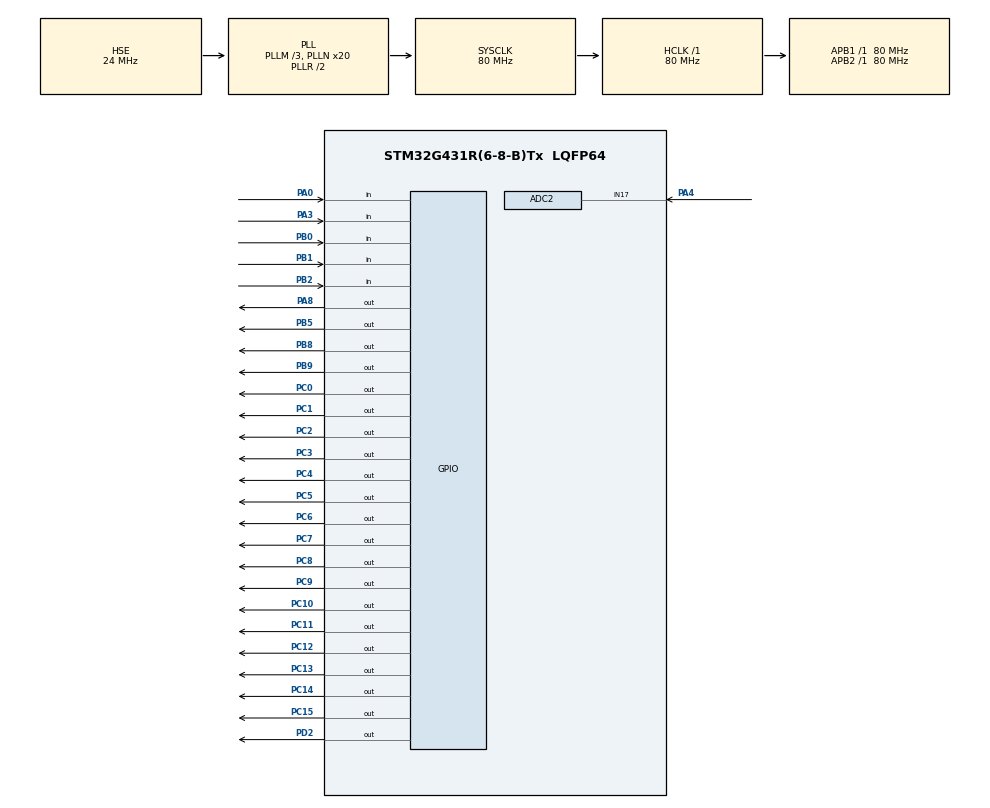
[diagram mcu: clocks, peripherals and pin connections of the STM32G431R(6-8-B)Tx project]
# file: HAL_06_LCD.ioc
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Mcu.Family=STM32G4
RCC.CortexFreq_Value=80000000
ADC2.Channel-0\#ChannelRegularConversion=ADC_CHANNEL_17
PC10.Signal=GPIO_Output
PC12.Signal=GPIO_Output
RCC.SYSCLKSource=RCC_SYSCLKSOURCE_PLLCLK
ProjectManager.StackSize=0x400
PA4.Mode=IN17-Single-Ended
PB1.GPIO_PuPd=GPIO_NOPULL
RCC.HCLKFreq_Value=80000000
RCC.APB2TimFreq_Value=80000000
PC7.Signal=GPIO_Output
PC3.Signal=GPIO_Output
RCC.AHBFreq_Value=80000000
RCC.HSE_VALUE=24000000
PB2.Signal=GPIO_Input
RCC.ADC12Freq_Value=80000000
PA14.Mode=Serial_Wire
VP_SYS_VS_DBSignals.Mode=DisableDeadBatterySignals
PA8.Signal=GPIO_Output
PB2.GPIO_PuPd=GPIO_NOPULL
PA0.Signal=GPIO_Input
Mcu.Package=LQFP64
PB9.Signal=GPIO_Output
PB1.Signal=GPIO_Input
PB0.GPIO_Mode=GPIO_MODE_INPUT
PA0.GPIO_PuPd=GPIO_NOPULL
ADC2.SamplingTime-0\#ChannelRegularConversion=ADC_SAMPLETIME_2CYCLES_5
RCC.APB1TimFreq_Value=80000000
PC5.Signal=GPIO_Output
ADC2.Rank-0\#ChannelRegularConversion=1
PF1-OSC_OUT.Mode=HSE-External-Oscillator
PF1-OSC_OUT.Signal=RCC_OSC_OUT
RCC.HSI48_VALUE=48000000
PA3.Signal=GPIO_Input
RCC.PLLSourceVirtual=RCC_PLLSOURCE_HSE
TIM4.AutoReloadPreload=TIM_AUTORELOAD_PRELOAD_ENABLE
PC11.Signal=GPIO_Output
PC13.Signal=GPIO_Output
TIM4.PeriodNoDither=1000 - 1
PC8.Signal=GPIO_Output
PC2.Signal=GPIO_Output
PC4.Signal=GPIO_Output
PC6.Signal=GPIO_Output
PA0.GPIO_Mode=GPIO_MODE_INPUT
RCC.EXTERNAL_CLOCK_VALUE=12288000
PC0.Signal=GPIO_Output
PC14-OSC32_IN.Signal=GPIO_Output
PA13.Signal=SYS_JTMS-SWDIO
ADC2.ContinuousConvMode=ENABLE
ProjectManager.TargetToolchain=MDK-ARM V5.27
PB1.GPIO_Mode=GPIO_MODE_INPUT
RCC.USBFreq_Value=80000000
TIM4.Prescaler=80 - 1
RCC.LSE_VALUE=32768
PC15-OSC32_OUT.Signal=GPIO_Output
PF0-OSC_IN.Mode=HSE-External-Oscillator
ADC2.OffsetNumber-0\#ChannelRegularConversion=ADC_OFFSET_NONE
PB8-BOOT0.Signal=GPIO_Output
board=custom
RCC.VCOOutputFreq_Value=160000000
RCC.APB2Freq_Value=80000000
PB2.GPIO_Mode=GPIO_MODE_INPUT
PA13.Mode=Serial_Wire
Mcu.Name=STM32G431R(6-8-B)Tx
PA4.Signal=ADC2_IN17
RCC.SYSCLKFreq_VALUE=80000000
PB5.Signal=GPIO_Output
ADC2.NbrOfConversionFlag=1
PA14.Signal=SYS_JTCK-SWCLK
ProjectManager.HeapSize=0x200
RCC.HSI_VALUE=16000000
VP_TIM4_VS_ClockSourceINT.Mode=Internal
NVIC.PriorityGroup=NVIC_PRIORITYGROUP_4
RCC.PLLM=RCC_PLLM_DIV3
RCC.PLLN=20
PC9.Signal=GPIO_Output
PF0-OSC_IN.Signal=RCC_OSC_IN
PD2.Signal=GPIO_Output
NVIC.TIM4_IRQn=true\:0\:0\:false\:false\:true\:true\:true
RCC.APB1Freq_Value=80000000
PB0.Signal=GPIO_Input
PC1.Signal=GPIO_Output
PB0.GPIO_PuPd=GPIO_NOPULL

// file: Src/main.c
/* USER CODE BEGIN Header */
/**
  ******************************************************************************
  * @file           : main.c
  * @brief          : Main program body
  ******************************************************************************
  * @attention
  *
  * <h2><center>&copy; Copyright (c) 2021 STMicroelectronics.
  * All rights reserved.</center></h2>
  *
  * This software component is licensed by ST under BSD 3-Clause license,
  * the "License"; You may not use this file except in compliance with the
  * License. You may obtain a copy of the License at:
  *                        opensource.org/licenses/BSD-3-Clause
  *
  ******************************************************************************
  */
/* USER CODE END Header */

#include "main.h"
#include "adc.h"
#include "tim.h"
#include "gpio.h"

/* USER CODE BEGIN PV */
uint16_t led_tick = 0;
_Bool led_flag = 0;

uint8_t key_tick = 0;

uint8_t lcd_str[20];

/* USER CODE END PV */

void SystemClock_Config(void);
/* USER CODE BEGIN PFP */
void led_proc(void);
void key_scan(void);
void trao_proc(void);
/* USER CODE END PFP */

int main(void)
{

  /* MCU Configuration--------------------------------------------------------*/

  /* Reset of all peripherals, Initializes the Flash interface and the Systick. */
  HAL_Init();

  /* Configure the system clock */
  SystemClock_Config();

  /* Initialize all configured peripherals */
  MX_GPIO_Init();
  MX_TIM4_Init();
  MX_ADC2_Init();
  /* USER CODE BEGIN 2 */

	LCD_Init();

	led_init();

	HAL_TIM_Base_Start_IT(&htim4);

	HAL_ADCEx_Calibration_Start(&hadc2,ADC_SINGLE_ENDED);
	HAL_ADC_Start(&hadc2);

  /* USER CODE END 2 */

  /* Infinite loop */
  /* USER CODE BEGIN WHILE */

	LCD_Clear(Blue);
	LCD_SetBackColor(Blue);
	LCD_SetTextColor(White);

	LCD_DisplayStringLine(Line0, (uint8_t *)"                    ");
	LCD_DisplayStringLine(Line1, (uint8_t *)"                    ");
	LCD_DisplayStringLine(Line2, (uint8_t *)"      LCD Test      ");
	LCD_DisplayStringLine(Line3, (uint8_t *)"                    ");
	LCD_DisplayStringLine(Line4, (uint8_t *)"                    ");

	LCD_SetBackColor(White);
	LCD_SetTextColor(Blue);

	LCD_DisplayStringLine(Line5, (uint8_t *)"                    ");
	LCD_DisplayStringLine(Line6, (uint8_t *)"       HAL LIB      ");
	LCD_DisplayStringLine(Line7, (uint8_t *)"                    ");
	LCD_DisplayStringLine(Line8, (uint8_t *)"                    ");
	LCD_DisplayStringLine(Line9, (uint8_t *)"                    ");

  while (1)
  {
    /* USER CODE END WHILE */

    /* USER CODE BEGIN 3 */
	led_proc();

	trao_proc();

	memset(lcd_str,0,sizeof(lcd_str));
	 if(HAL_GPIO_ReadPin(GPIOA,GPIO_PIN_3))
		snprintf((char*)lcd_str,20,"LOW                     ");
	 else
		snprintf((char*)lcd_str,20,"HIGH                     ");
	LCD_DisplayStringLine(Line6, lcd_str);
  }
  /* USER CODE END 3 */
}

void SystemClock_Config(void)
{
  RCC_OscInitTypeDef RCC_OscInitStruct = {0};
  RCC_ClkInitTypeDef RCC_ClkInitStruct = {0};
  RCC_PeriphCLKInitTypeDef PeriphClkInit = {0};

  /** Configure the main internal regulator output voltage
  */
  HAL_PWREx_ControlVoltageScaling(PWR_REGULATOR_VOLTAGE_SCALE1);
  /** Initializes the CPU, AHB and APB busses clocks
  */
  RCC_OscInitStruct.OscillatorType = RCC_OSCILLATORTYPE_HSE;
  RCC_OscInitStruct.HSEState = RCC_HSE_ON;
  RCC_OscInitStruct.PLL.PLLState = RCC_PLL_ON;
  RCC_OscInitStruct.PLL.PLLSource = RCC_PLLSOURCE_HSE;
  RCC_OscInitStruct.PLL.PLLM = RCC_PLLM_DIV3;
  RCC_OscInitStruct.PLL.PLLN = 20;
  RCC_OscInitStruct.PLL.PLLP = RCC_PLLP_DIV2;
  RCC_OscInitStruct.PLL.PLLQ = RCC_PLLQ_DIV2;
  RCC_OscInitStruct.PLL.PLLR = RCC_PLLR_DIV2;
  if (HAL_RCC_OscConfig(&RCC_OscInitStruct) != HAL_OK)
  {
    Error_Handler();
  }
  /** Initializes the CPU, AHB and APB busses clocks
  */
  RCC_ClkInitStruct.ClockType = RCC_CLOCKTYPE_HCLK|RCC_CLOCKTYPE_SYSCLK
                              |RCC_CLOCKTYPE_PCLK1|RCC_CLOCKTYPE_PCLK2;
  RCC_ClkInitStruct.SYSCLKSource = RCC_SYSCLKSOURCE_PLLCLK;
  RCC_ClkInitStruct.AHBCLKDivider = RCC_SYSCLK_DIV1;
  RCC_ClkInitStruct.APB1CLKDivider = RCC_HCLK_DIV1;
  RCC_ClkInitStruct.APB2CLKDivider = RCC_HCLK_DIV1;

  if (HAL_RCC_ClockConfig(&RCC_ClkInitStruct, FLASH_LATENCY_3) != HAL_OK)
  {
    Error_Handler();
  }
  /** Initializes the peripherals clocks
  */
  PeriphClkInit.PeriphClockSelection = RCC_PERIPHCLK_ADC12;
  PeriphClkInit.Adc12ClockSelection = RCC_ADC12CLKSOURCE_SYSCLK;
  if (HAL_RCCEx_PeriphCLKConfig(&PeriphClkInit) != HAL_OK)
  {
    Error_Handler();
  }
}

/* USER CODE BEGIN 4 */
void key_scan(void)
{
	key_refresh();
	if(key_falling == B1)
	{
		led_toggle(LD5);
	}
	else if(key_falling == B2)
	{
		led_toggle(LD6);
	}
	else if(key_falling == B3)
	{
		led_toggle(LD7);
	}
	else if(key_falling == B4)
	{
		led_toggle(LD8);
	}
}

void trao_proc(void)
{
//	uint16_t trao_value = 0;
	HAL_ADC_Start(&hadc2);
	HAL_ADC_PollForConversion(&hadc2,0xFF);
	while((!__HAL_ADC_GET_FLAG(&hadc2,ADC_FLAG_EOC)));
	memset(lcd_str,0,sizeof(lcd_str));
	snprintf((char*)lcd_str,20,"TRAO_Val:%d                     ",HAL_ADC_GetValue(&hadc2));
	LCD_DisplayStringLine(Line8, lcd_str);
	HAL_ADC_Stop(&hadc2);

}

void led_proc(void)
{
	if(led_flag)
	{
		led_flag = 0;
		led_toggle(LD1);
	}
}

void HAL_TIM_PeriodElapsedCallback(TIM_HandleTypeDef *htim)
{
	if(htim->Instance == TIM4)
	{
		if(++led_tick == 1000)
		{
			led_tick = 0;
			led_flag = 1;
		}
		if(++key_tick == 10)
		{
			key_tick = 0;
			key_scan();
		}
	}
}
/* USER CODE END 4 */

void Error_Handler(void)
{
}

/************************ (C) COPYRIGHT STMicroelectronics *****END OF FILE****/
